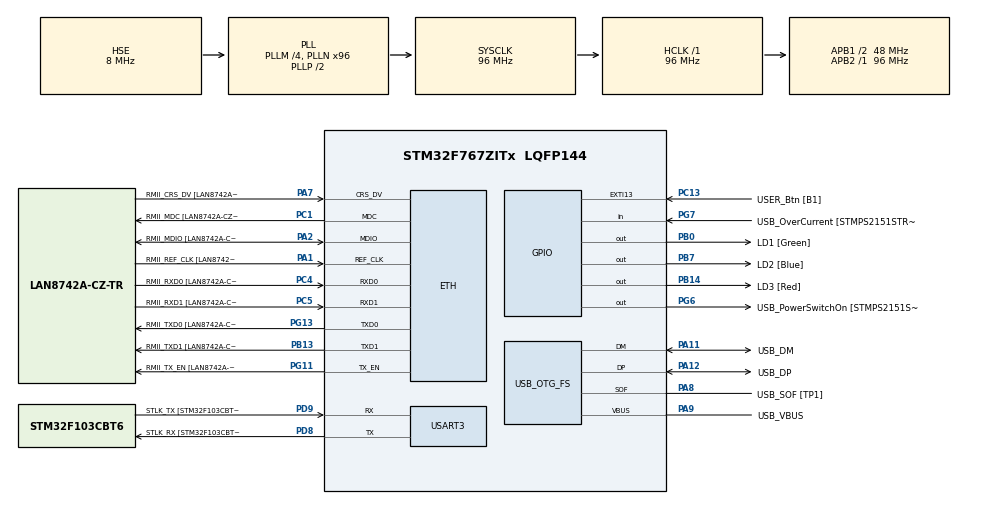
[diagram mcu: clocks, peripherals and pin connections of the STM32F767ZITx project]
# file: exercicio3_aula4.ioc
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ETH.MediaInterface=HAL_ETH_RMII_MODE
ETH.PHY_Name=LAN8742A_PHY_ADDRESS
ETH.PHY_Value=0
ETH.PhyAddress=0
FREERTOS.CountingSemaphores01=Semaforocont,2,Dynamic,NULL,0
FREERTOS.Tasks01=Task01,24,128,Task01Fun,Default,NULL,Dynamic,NULL,NULL;Task02,24,128,Task02Fun,Default,NULL,Dynamic,NULL,NULL;Task03,24,128,Task03Fun,Default,NULL,Dynamic,NULL,NULL
FREERTOS.configUSE_NEWLIB_REENTRANT=1
Mcu.Family=STM32F7
Mcu.Name=STM32F767ZITx
Mcu.Package=LQFP144
NVIC.PriorityGroup=NVIC_PRIORITYGROUP_4
NVIC.TIM1_UP_TIM10_IRQn=true\:15\:0\:false\:false\:true\:false\:false\:true\:true
NVIC.TimeBase=TIM1_UP_TIM10_IRQn
NVIC.TimeBaseIP=TIM1
PA1.GPIO_Label=RMII_REF_CLK [LAN8742A-CZ-TR_REFCLK0]
PA1.Mode=RMII
PA1.Signal=ETH_REF_CLK
PA10.GPIO_Label=USB_ID
PA10.Signal=USB_OTG_FS_ID
PA11.GPIO_Label=USB_DM
PA11.Mode=Device_Only
PA11.Signal=USB_OTG_FS_DM
PA12.GPIO_Label=USB_DP
PA12.Mode=Device_Only
PA12.Signal=USB_OTG_FS_DP
PA13.GPIO_Label=TMS
PA13.Mode=Serial_Wire
PA13.Signal=SYS_JTMS-SWDIO
PA14.GPIO_Label=TCK
PA14.Mode=Serial_Wire
PA14.Signal=SYS_JTCK-SWCLK
PA2.GPIO_Label=RMII_MDIO [LAN8742A-CZ-TR_MDIO]
PA2.Mode=RMII
PA2.Signal=ETH_MDIO
PA7.GPIO_Label=RMII_CRS_DV [LAN8742A-CZ-TR_CRS_DV]
PA7.Mode=RMII
PA7.Signal=ETH_CRS_DV
PA8.GPIO_Label=USB_SOF [TP1]
PA8.Mode=Activate_SOF_FS
PA8.Signal=USB_OTG_FS_SOF
PA9.GPIO_Label=USB_VBUS
PA9.Mode=Activate_VBUS
PA9.Signal=USB_OTG_FS_VBUS
PB0.GPIO_Label=LD1 [Green]
PB0.Signal=GPIO_Output
PB13.GPIO_Label=RMII_TXD1 [LAN8742A-CZ-TR_TXD1]
PB13.Mode=RMII
PB13.Signal=ETH_TXD1
PB14.GPIO_Label=LD3 [Red]
PB14.Signal=GPIO_Output
PB3.GPIO_Label=SWO
PB3.Signal=SYS_JTDO-SWO
PB7.GPIO_Label=LD2 [Blue]
PB7.Signal=GPIO_Output
PC1.GPIO_Label=RMII_MDC [LAN8742A-CZ-TR_MDC]
PC1.Mode=RMII
PC1.Signal=ETH_MDC
PC13.GPIO_Label=USER_Btn [B1]
PC13.Signal=GPXTI13
PC14/OSC32_IN.Mode=LSE-External-Oscillator
PC14/OSC32_IN.Signal=RCC_OSC32_IN
PC15/OSC32_OUT.Mode=LSE-External-Oscillator
PC15/OSC32_OUT.Signal=RCC_OSC32_OUT
PC4.GPIO_Label=RMII_RXD0 [LAN8742A-CZ-TR_RXD0]
PC4.Mode=RMII
PC4.Signal=ETH_RXD0
PC5.GPIO_Label=RMII_RXD1 [LAN8742A-CZ-TR_RXD1]
PC5.Mode=RMII
PC5.Signal=ETH_RXD1
PD8.GPIO_Label=STLK_RX [STM32F103CBT6_PA3]
PD8.Mode=Asynchronous
PD8.Signal=USART3_TX
PD9.GPIO_Label=STLK_TX [STM32F103CBT6_PA2]
PD9.Mode=Asynchronous
PD9.Signal=USART3_RX
PG11.GPIO_Label=RMII_TX_EN [LAN8742A-CZ-TR_TXEN]
PG11.Mode=RMII
PG11.Signal=ETH_TX_EN
PG13.GPIO_Label=RMII_TXD0 [LAN8742A-CZ-TR_TXD0]
PG13.Mode=RMII
PG13.Signal=ETH_TXD0
PG6.GPIO_Label=USB_PowerSwitchOn [STMPS2151STR_EN]
PG6.Signal=GPIO_Output
PG7.GPIO_Label=USB_OverCurrent [STMPS2151STR_FAULT]
PG7.Signal=GPIO_Input
PH0/OSC_IN.GPIO_Label=MCO [STM32F103CBT6_PA8]
PH0/OSC_IN.Mode=HSE-External-Clock-Source
PH0/OSC_IN.Signal=RCC_OSC_IN
PH1/OSC_OUT.Mode=HSE-External-Clock-Source
PH1/OSC_OUT.Signal=RCC_OSC_OUT
ProjectManager.HeapSize=0x200
ProjectManager.StackSize=0x400
ProjectManager.TargetToolchain=STM32CubeIDE
RCC.48MHZClocksFreq_Value=24000000
RCC.AHBFreq_Value=96000000
RCC.APB1CLKDivider=RCC_HCLK_DIV2
RCC.APB1Freq_Value=48000000
RCC.APB1TimFreq_Value=96000000
RCC.APB2Freq_Value=96000000
RCC.APB2TimFreq_Value=96000000
RCC.CortexFreq_Value=96000000
RCC.HCLKFreq_Value=96000000
RCC.HSE_VALUE=8000000
RCC.HSI_VALUE=16000000
RCC.PLLM=4
RCC.PLLMUL=RCC_PLL_MUL9
RCC.PLLN=96
RCC.PLLQ=4
RCC.PRESCALERUSB=RCC_USBCLKSOURCE_PLL_DIV1_5
RCC.SYSCLKFreq_VALUE=96000000
RCC.SYSCLKSource=RCC_SYSCLKSOURCE_PLLCLK
RCC.SYSCLKSourceVirtual=RCC_SYSCLKSOURCE_PLLCLK
RCC.USBFreq_Value=48000000
RCC.VCOOutputFreq_Value=192000000
USART3.VirtualMode-Asynchronous=VM_ASYNC
USB_OTG_FS.VirtualMode=Device_Only
VP_FREERTOS_VS_CMSIS_V2.Mode=CMSIS_V2
VP_SYS_VS_tim1.Mode=TIM1
board=NUCLEO-F767ZI

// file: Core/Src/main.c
/* USER CODE BEGIN Header */
/**
  ******************************************************************************
  * @file           : main.c
  * @brief          : Main program body
  ******************************************************************************
  * @attention
  *
  * Copyright (c) 2025 STMicroelectronics.
  * All rights reserved.
  *
  * This software is licensed under terms that can be found in the LICENSE file
  * in the root directory of this software component.
  * If no LICENSE file comes with this software, it is provided AS-IS.
  *
  ******************************************************************************
  */
/* USER CODE END Header */
#include "main.h"
#include "string.h"
#include "cmsis_os.h"

/* USER CODE BEGIN Includes */
#include <stdio.h>
/* USER CODE END Includes */

#if defined ( __ICCARM__ ) /*!< IAR Compiler */
#pragma location=0x2007c000
ETH_DMADescTypeDef  DMARxDscrTab[ETH_RX_DESC_CNT]; /* Ethernet Rx DMA Descriptors */
#pragma location=0x2007c0a0
ETH_DMADescTypeDef  DMATxDscrTab[ETH_TX_DESC_CNT]; /* Ethernet Tx DMA Descriptors */

#elif defined ( __CC_ARM )  /* MDK ARM Compiler */

__attribute__((at(0x2007c000))) ETH_DMADescTypeDef  DMARxDscrTab[ETH_RX_DESC_CNT]; /* Ethernet Rx DMA Descriptors */
__attribute__((at(0x2007c0a0))) ETH_DMADescTypeDef  DMATxDscrTab[ETH_TX_DESC_CNT]; /* Ethernet Tx DMA Descriptors */

#elif defined ( __GNUC__ ) /* GNU Compiler */

ETH_DMADescTypeDef DMARxDscrTab[ETH_RX_DESC_CNT] __attribute__((section(".RxDecripSection"))); /* Ethernet Rx DMA Descriptors */
ETH_DMADescTypeDef DMATxDscrTab[ETH_TX_DESC_CNT] __attribute__((section(".TxDecripSection")));   /* Ethernet Tx DMA Descriptors */
#endif

ETH_TxPacketConfig TxConfig;

ETH_HandleTypeDef heth;

UART_HandleTypeDef huart3;

PCD_HandleTypeDef hpcd_USB_OTG_FS;

/* Definitions for Task01 */
osThreadId_t Task01Handle;
const osThreadAttr_t Task01_attributes = {
  .name = "Task01",
  .stack_size = 128 * 4,
  .priority = (osPriority_t) osPriorityNormal,
};
/* Definitions for Task02 */
osThreadId_t Task02Handle;
const osThreadAttr_t Task02_attributes = {
  .name = "Task02",
  .stack_size = 128 * 4,
  .priority = (osPriority_t) osPriorityNormal,
};
/* Definitions for Task03 */
osThreadId_t Task03Handle;
const osThreadAttr_t Task03_attributes = {
  .name = "Task03",
  .stack_size = 128 * 4,
  .priority = (osPriority_t) osPriorityNormal,
};
/* Definitions for Semaforocont */
osSemaphoreId_t SemaforocontHandle;
const osSemaphoreAttr_t Semaforocont_attributes = {
  .name = "Semaforocont"
};

void SystemClock_Config(void);
static void MX_GPIO_Init(void);
static void MX_ETH_Init(void);
static void MX_USART3_UART_Init(void);
static void MX_USB_OTG_FS_PCD_Init(void);
void Task01Fun(void *argument);
void Task02Fun(void *argument);
void Task03Fun(void *argument);

int main(void)
{

  /* MCU Configuration--------------------------------------------------------*/

  /* Reset of all peripherals, Initializes the Flash interface and the Systick. */
  HAL_Init();

  /* Configure the system clock */
  SystemClock_Config();

  /* Initialize all configured peripherals */
  MX_GPIO_Init();
  MX_ETH_Init();
  MX_USART3_UART_Init();
  MX_USB_OTG_FS_PCD_Init();

  /* Init scheduler */
  osKernelInitialize();

  /* Create the semaphores(s) */
  /* creation of Semaforocont */
  SemaforocontHandle = osSemaphoreNew(2, 0, &Semaforocont_attributes);

  /* Create the thread(s) */
  /* creation of Task01 */
  Task01Handle = osThreadNew(Task01Fun, NULL, &Task01_attributes);

  /* creation of Task02 */
  Task02Handle = osThreadNew(Task02Fun, NULL, &Task02_attributes);

  /* creation of Task03 */
  Task03Handle = osThreadNew(Task03Fun, NULL, &Task03_attributes);

  /* Start scheduler */
  osKernelStart();

  /* We should never get here as control is now taken by the scheduler */

  /* Infinite loop */
  while (1)
  {

  }
}

void SystemClock_Config(void)
{
  RCC_OscInitTypeDef RCC_OscInitStruct = {0};
  RCC_ClkInitTypeDef RCC_ClkInitStruct = {0};

  /** Configure LSE Drive Capability
  */
  HAL_PWR_EnableBkUpAccess();

  /** Configure the main internal regulator output voltage
  */
  __HAL_RCC_PWR_CLK_ENABLE();
  __HAL_PWR_VOLTAGESCALING_CONFIG(PWR_REGULATOR_VOLTAGE_SCALE3);

  /** Initializes the RCC Oscillators according to the specified parameters
  * in the RCC_OscInitTypeDef structure.
  */
  RCC_OscInitStruct.OscillatorType = RCC_OSCILLATORTYPE_HSE;
  RCC_OscInitStruct.HSEState = RCC_HSE_BYPASS;
  RCC_OscInitStruct.PLL.PLLState = RCC_PLL_ON;
  RCC_OscInitStruct.PLL.PLLSource = RCC_PLLSOURCE_HSE;
  RCC_OscInitStruct.PLL.PLLM = 4;
  RCC_OscInitStruct.PLL.PLLN = 96;
  RCC_OscInitStruct.PLL.PLLP = RCC_PLLP_DIV2;
  RCC_OscInitStruct.PLL.PLLQ = 4;
  RCC_OscInitStruct.PLL.PLLR = 2;
  if (HAL_RCC_OscConfig(&RCC_OscInitStruct) != HAL_OK)
  {
    Error_Handler();
  }

  /** Activate the Over-Drive mode
  */
  if (HAL_PWREx_EnableOverDrive() != HAL_OK)
  {
    Error_Handler();
  }

  /** Initializes the CPU, AHB and APB buses clocks
  */
  RCC_ClkInitStruct.ClockType = RCC_CLOCKTYPE_HCLK|RCC_CLOCKTYPE_SYSCLK
                              |RCC_CLOCKTYPE_PCLK1|RCC_CLOCKTYPE_PCLK2;
  RCC_ClkInitStruct.SYSCLKSource = RCC_SYSCLKSOURCE_PLLCLK;
  RCC_ClkInitStruct.AHBCLKDivider = RCC_SYSCLK_DIV1;
  RCC_ClkInitStruct.APB1CLKDivider = RCC_HCLK_DIV2;
  RCC_ClkInitStruct.APB2CLKDivider = RCC_HCLK_DIV1;

  if (HAL_RCC_ClockConfig(&RCC_ClkInitStruct, FLASH_LATENCY_3) != HAL_OK)
  {
    Error_Handler();
  }
}

static void MX_ETH_Init(void)
{

   static uint8_t MACAddr[6];

  heth.Instance = ETH;
  MACAddr[0] = 0x00;
  MACAddr[1] = 0x80;
  MACAddr[2] = 0xE1;
  MACAddr[3] = 0x00;
  MACAddr[4] = 0x00;
  MACAddr[5] = 0x00;
  heth.Init.MACAddr = &MACAddr[0];
  heth.Init.MediaInterface = HAL_ETH_RMII_MODE;
  heth.Init.TxDesc = DMATxDscrTab;
  heth.Init.RxDesc = DMARxDscrTab;
  heth.Init.RxBuffLen = 1524;

  if (HAL_ETH_Init(&heth) != HAL_OK)
  {
    Error_Handler();
  }

  memset(&TxConfig, 0 , sizeof(ETH_TxPacketConfig));
  TxConfig.Attributes = ETH_TX_PACKETS_FEATURES_CSUM | ETH_TX_PACKETS_FEATURES_CRCPAD;
  TxConfig.ChecksumCtrl = ETH_CHECKSUM_IPHDR_PAYLOAD_INSERT_PHDR_CALC;
  TxConfig.CRCPadCtrl = ETH_CRC_PAD_INSERT;

}

static void MX_USART3_UART_Init(void)
{

  huart3.Instance = USART3;
  huart3.Init.BaudRate = 115200;
  huart3.Init.WordLength = UART_WORDLENGTH_8B;
  huart3.Init.StopBits = UART_STOPBITS_1;
  huart3.Init.Parity = UART_PARITY_NONE;
  huart3.Init.Mode = UART_MODE_TX_RX;
  huart3.Init.HwFlowCtl = UART_HWCONTROL_NONE;
  huart3.Init.OverSampling = UART_OVERSAMPLING_16;
  huart3.Init.OneBitSampling = UART_ONE_BIT_SAMPLE_DISABLE;
  huart3.AdvancedInit.AdvFeatureInit = UART_ADVFEATURE_NO_INIT;
  if (HAL_UART_Init(&huart3) != HAL_OK)
  {
    Error_Handler();
  }

}

static void MX_USB_OTG_FS_PCD_Init(void)
{

  hpcd_USB_OTG_FS.Instance = USB_OTG_FS;
  hpcd_USB_OTG_FS.Init.dev_endpoints = 6;
  hpcd_USB_OTG_FS.Init.speed = PCD_SPEED_FULL;
  hpcd_USB_OTG_FS.Init.dma_enable = DISABLE;
  hpcd_USB_OTG_FS.Init.phy_itface = PCD_PHY_EMBEDDED;
  hpcd_USB_OTG_FS.Init.Sof_enable = ENABLE;
  hpcd_USB_OTG_FS.Init.low_power_enable = DISABLE;
  hpcd_USB_OTG_FS.Init.lpm_enable = DISABLE;
  hpcd_USB_OTG_FS.Init.vbus_sensing_enable = ENABLE;
  hpcd_USB_OTG_FS.Init.use_dedicated_ep1 = DISABLE;
  if (HAL_PCD_Init(&hpcd_USB_OTG_FS) != HAL_OK)
  {
    Error_Handler();
  }

}

static void MX_GPIO_Init(void)
{
  GPIO_InitTypeDef GPIO_InitStruct = {0};

  /* GPIO Ports Clock Enable */
  __HAL_RCC_GPIOC_CLK_ENABLE();
  __HAL_RCC_GPIOH_CLK_ENABLE();
  __HAL_RCC_GPIOA_CLK_ENABLE();
  __HAL_RCC_GPIOB_CLK_ENABLE();
  __HAL_RCC_GPIOD_CLK_ENABLE();
  __HAL_RCC_GPIOG_CLK_ENABLE();

  /*Configure GPIO pin Output Level */
  HAL_GPIO_WritePin(GPIOB, LD1_Pin|LD3_Pin|LD2_Pin, GPIO_PIN_RESET);

  /*Configure GPIO pin Output Level */
  HAL_GPIO_WritePin(USB_PowerSwitchOn_GPIO_Port, USB_PowerSwitchOn_Pin, GPIO_PIN_RESET);

  /*Configure GPIO pin : USER_Btn_Pin */
  GPIO_InitStruct.Pin = USER_Btn_Pin;
  GPIO_InitStruct.Mode = GPIO_MODE_IT_RISING;
  GPIO_InitStruct.Pull = GPIO_NOPULL;
  HAL_GPIO_Init(USER_Btn_GPIO_Port, &GPIO_InitStruct);

  /*Configure GPIO pins : LD1_Pin LD3_Pin LD2_Pin */
  GPIO_InitStruct.Pin = LD1_Pin|LD3_Pin|LD2_Pin;
  GPIO_InitStruct.Mode = GPIO_MODE_OUTPUT_PP;
  GPIO_InitStruct.Pull = GPIO_NOPULL;
  GPIO_InitStruct.Speed = GPIO_SPEED_FREQ_LOW;
  HAL_GPIO_Init(GPIOB, &GPIO_InitStruct);

  /*Configure GPIO pin : USB_PowerSwitchOn_Pin */
  GPIO_InitStruct.Pin = USB_PowerSwitchOn_Pin;
  GPIO_InitStruct.Mode = GPIO_MODE_OUTPUT_PP;
  GPIO_InitStruct.Pull = GPIO_NOPULL;
  GPIO_InitStruct.Speed = GPIO_SPEED_FREQ_LOW;
  HAL_GPIO_Init(USB_PowerSwitchOn_GPIO_Port, &GPIO_InitStruct);

  /*Configure GPIO pin : USB_OverCurrent_Pin */
  GPIO_InitStruct.Pin = USB_OverCurrent_Pin;
  GPIO_InitStruct.Mode = GPIO_MODE_INPUT;
  GPIO_InitStruct.Pull = GPIO_NOPULL;
  HAL_GPIO_Init(USB_OverCurrent_GPIO_Port, &GPIO_InitStruct);

}

/* USER CODE BEGIN 4 */
uint8_t cont;
/* USER CODE END 4 */

void Task01Fun(void *argument)
{
  /* USER CODE BEGIN 5 */
  /* Infinite loop */
	char msg[64];

  for(;;)
  {
	  cont = osSemaphoreGetCount(SemaforocontHandle);
	  sprintf(msg, "Valor atual do semaforo: %d\r\n", cont);
	  HAL_UART_Transmit(&huart3, (uint8_t*)msg, strlen(msg), HAL_MAX_DELAY);

	  if (cont == 0 ) {
	      sprintf(msg, "Semaforo indisponivel. Liberando na task1...\r\n");
	      HAL_UART_Transmit(&huart3, (uint8_t*)msg, strlen(msg), HAL_MAX_DELAY);

		  osSemaphoreRelease(SemaforocontHandle);
	   }

	  osSemaphoreAcquire(SemaforocontHandle, osWaitForever);
	  sprintf(msg, "Executando tarefa 1 apos Acquire.\r\n");
	  HAL_UART_Transmit(&huart3, (uint8_t*)msg, strlen(msg), HAL_MAX_DELAY);
	  osDelay(500);
  }
  /* USER CODE END 5 */
}

void Task02Fun(void *argument)
{
  /* USER CODE BEGIN Task02Fun */
  /* Infinite loop */
	char msg[] = "Executando Task2 ...\r\n";
	  for(;;)
	  {
		osSemaphoreAcquire(SemaforocontHandle, osWaitForever);
		cont = osSemaphoreGetCount(SemaforocontHandle);

		//HAL_GPIO_TogglePin(GPIOB, LD2_Pin);

		HAL_UART_Transmit(&huart3, (uint8_t*)msg, strlen(msg), HAL_MAX_DELAY);

		//osSemaphoreRelease(SemaforocontHandle);
		//cont = osSemaphoreGetCount(SemaforocontHandle);

	    osDelay(500);
	  }
  /* USER CODE END Task02Fun */
}

void Task03Fun(void *argument)
{
  /* USER CODE BEGIN Task03Fun */
  /* Infinite loop */
	char msg[] = "Executando Task3...\r\n";
	  for(;;)
	  {
		osSemaphoreAcquire(SemaforocontHandle, osWaitForever);
		cont = osSemaphoreGetCount(SemaforocontHandle);

		HAL_UART_Transmit(&huart3, (uint8_t*)msg, strlen(msg), HAL_MAX_DELAY);

		//osSemaphoreRelease(SemaforocontHandle);
//		cont = osSemaphoreGetCount(SemaforocontHandle);

	    osDelay(500);
	  }
  /* USER CODE END Task03Fun */
}

void HAL_TIM_PeriodElapsedCallback(TIM_HandleTypeDef *htim)
{
  if (htim->Instance == TIM1)
  {
    HAL_IncTick();
  }
}

void Error_Handler(void)
{
  __disable_irq();
  while (1)
  {
  }
}
